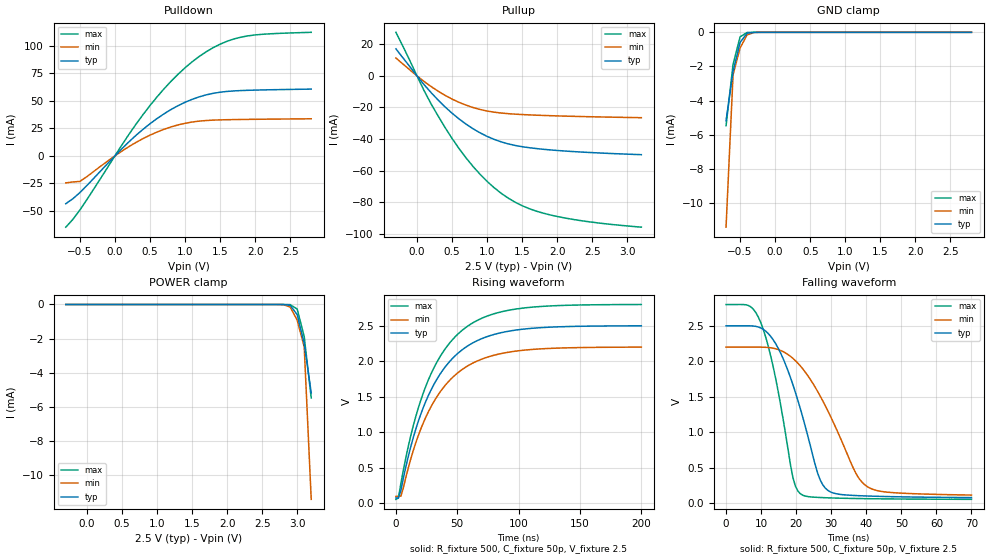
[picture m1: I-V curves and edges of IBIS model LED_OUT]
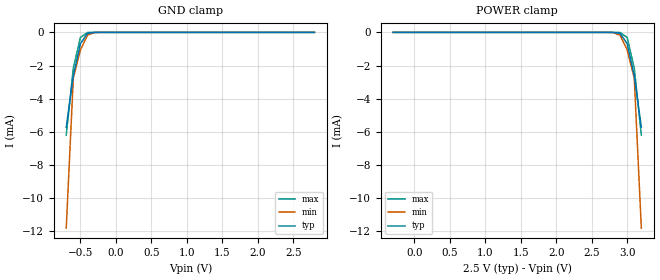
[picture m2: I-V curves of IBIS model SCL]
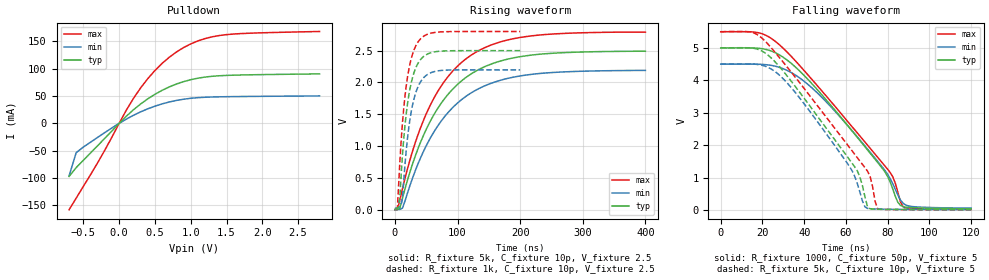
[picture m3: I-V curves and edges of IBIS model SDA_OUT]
|   NXP Semiconductors Inc.
|   IBIS model of PCA9685
[IBIS Ver]   3.2
[Comment Char]   |_char
[File name]   pca9685_2_5v.ibs
[File Rev]   1.0
[Date]   Nov 3, 2008 12:19:04 PM
[Source]
Generated by Seshadri Venkataramanan using IbisToolKit at Tempe, AZ
[Notes]
[Disclaimer]
(C) Copyright 2007 NXP Semiconductors
All rights reserved
NXP Semiconductors (NXP) does not warrant that this model and any other
accompanying information (Model) accurately or fully represents the
operating characteristics and specifications of the semiconductor
products to which the Model relates.  Moreover, the Model is furnished
on an "as is" and with "all faults" basis, and without support or
warranty of any kind.  NXP disclaims all warranties, whether expressed
or implied or statutory, including without limitation all implied
warranties of non-infringement, merchantability and fitness for any
purpose, and those arising from a course of dealing or usage of trade.
NXP does not convey any license under its or any third party's patents,
copyrights or other intellectual property or proprietary rights.
You and your company assume any and all risks and liability arising out
of the application or use of the Model.
In no event shall NXP be liable for any direct, indirect, special,
consequential or incidental damages, however caused, whether in
warranty, contract or tort (including negligence), strict liability or
other legal theory, including, without limitation, for lost profits,
business interruption, or corruption or loss of data or information,
arising out of or in connection with the use of or the inability to use
the Model, even if NXP has been advised of the possibility of such
damages.
NXP provides the Model as a courtesy to our customers. You and your
company shall not distribute, convey, sell, or give the Model to anyone
else without receiving prior written permission from NXP.
NXP reserves the right to make changes without notice to the Model to
improve reliability, function, or design.
Please be aware that your receipt and subsequent use of the Model shall
serve as acceptance of these terms and conditions.  If you do not
accept these terms, return or destroy the Model immediately.
[Copyright]
2008
[Component]   PCA9685PW
Si_location Pin
Timing_location Pin
[Manufacturer]   NXP Semiconductors
[Package]
R_pkg   1.82E-03   9.03E-04   3.6E-03
L_pkg   1.30E-09   4.84E-10   6.95E-09
C_pkg   6.66E-12   6.53E-12   6.80E-12
|  TSSOP28
[Pin] signal_name   model_name   R_pin   L_pin   C_pin
1   A0   INPUT_TTL   3.24E-03  2.45E-09  6.80E-12
2   A1   INPUT_TTL   2.68E-03  1.80E-09  6.79E-12
3   A2   INPUT_TTL   2.24E-03  1.22E-09  6.68E-12
4   A3   INPUT_TTL   1.40E-03  7.77E-10  6.58E-12
5   A4   INPUT_TTL   9.09E-04  4.88E-10  6.53E-12
6   LED0   LED_OUT   9.03E-04  4.84E-10  6.53E-12
7   LED1   LED_OUT   9.09E-04  4.88E-10  6.53E-12
8   LED2   LED_OUT   9.09E-04  4.88E-10  6.53E-12
9   LED3   LED_OUT   9.03E-04  4.84E-10  6.53E-12
10   LED4   LED_OUT   9.09E-04  4.88E-10  6.53E-12
11   LED5   LED_OUT   1.40E-03  7.77E-10  6.58E-12
12   LED6   LED_OUT   2.24E-03  1.22E-09  6.68E-12
13   LED7   LED_OUT   2.68E-03  1.80E-09  6.79E-12
14   VSS   GND   3.24E-03  2.45E-09  6.80E-12
15   LED8   LED_OUT   3.24E-03  2.45E-09  6.80E-12
16   LED9   LED_OUT   2.69E-03  1.80E-09  6.79E-12
17   LED10   LED_OUT   2.24E-03  1.22E-09  6.68E-12
18   LED11   LED_OUT   1.40E-03  7.78E-10  6.58E-12
19   LED12   LED_OUT   9.09E-04  4.88E-10  6.54E-12
20   LED13   LED_OUT   9.03E-04  4.84E-10  6.53E-12
21   LED14   LED_OUT   9.09E-04  4.88E-10  6.53E-12
22   LED15   LED_OUT   9.09E-04  4.88E-10  6.53E-12
23   OEbar   INPUT_TTL   9.03E-04  4.84E-10  6.53E-12
24   A5   INPUT_TTL   9.09E-04  4.88E-10  6.53E-12
25   EXTCLK   INPUT_TTL   1.40E-03  7.78E-10  6.58E-12
26   SCL   SCL   2.24E-03  1.22E-09  6.68E-12
27   SDA   SDA   2.69E-03  1.80E-09  6.79E-12
28   VDD   POWER   3.24E-03  2.45E-09  6.80E-12
|   LED
[Define Package Model]  SOT788_1
[Manufacturer]  NXP APK
[OEM]  Unknown
[Description]  Simulated @ 100MHz / for application PCa9685
|[Simulated] Rason Lei
|[Approved] Wayne Nunn
[Number Of Pins]  30
[Pin Numbers]
|Pin Num   Terminal Name
1   | Lead1:Pin1
2   | Lead2:Pin2
3   | Lead3:Pin3
4   | Lead4:Pin4
5   | Lead5:Pin5
6   | Lead6:Pin6
7   | Lead7:Pin7
8   | Lead8:Pin8
9   | Lead9:Pin9
10   | Lead10:Pin10
11   | Lead11:Pin11
12   | Lead11:Pin12
13   | Lead12:Pin13
14   | Lead13:Pin14
15   | Lead14:Pin15
16   | Lead15:Pin16
17   | Lead16:Pin17
18   | Lead17:Pin18
19   | Lead18:Pin19
20   | Lead19:Pin20
21   | Lead20:Pin21
22   | Lead21:Pin22
23   | Lead22:Pin23
24   | Lead23:Pin24
25   | Lead24:Pin25
26   | Lead25:Pin26
27   | Lead25:Pin27
28   | Lead26:Pin28
29   | Lead27:Pin29
30   | Lead28:Pin30
[Model Data]
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[End Model Data]
[End Package Model]
[Model Selector]   SDA
SDA_IN   SDA as an Input
SDA_OUT   SDA as output
| Models and submodels in the file (5): LED_OUT (I/O), SCL (Input), SDA_OUT (Open_drain), INPUT_TTL (Input), SDA_IN (Input)
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[Model]   LED_OUT
Model_type I/O
Enable Active-Low
Polarity Non-Inverting
Vinh=1.75
Vinl=0.75
Vref=2.5
Vmeas=1.25
Rref=500
Cref=50p
C_comp   3.2p   3p   3.4p
[Temperature Range] 27   85   -40
[Voltage Range]   2.5   2.2   2.8
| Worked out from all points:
|   slope of the pulldown table from 0 to 0.375 V, typ, clamps not added: 16.5 ohm
|   slope of the pullup table from 0 to 0.375 V, typ, clamps not added: 20.2 ohm
|   GND clamp passes 1 mA (typ) near -0.52 V on its own axis
|   falling waveform, R_fixture 500, C_fixture 50p, V_fixture 2.5: 20-80 % time 8.85ns typ, 12.4ns min, 6.36ns max; typ from 2.5 V to 0.083 V
|   rising waveform, R_fixture 500, C_fixture 50p, V_fixture 2.5: 20-80 % time 36ns typ, 36.2ns min, 35.8ns max; typ from 0.074 V to 2.5 V
[Pullup]
-300mV    17.03mA    11.24mA    27.47mA
100mV     -5.502mA   -3.524mA   -9.216mA
200mV     -10.54mA   -6.745mA   -17.64mA
400mV     -19.61mA   -12.33mA   -32.63mA
700mV     -30.53mA   -18.55mA   -51.87mA
900mV     -36.04mA   -21.28mA   -62.23mA
1.1V      -40.16mA   -22.98mA   -70.67mA
1.4V      -44mA      -24.23mA   -79.86mA
1.6V      -45.43mA   -24.69mA   -83.93mA
1.8V      -46.41mA   -25.04mA   -86.77mA
2.4V      -48.3mA    -25.79mA   -91.91mA
3.2V      -49.83mA   -26.46mA   -95.62mA
[Pulldown]
-700mV    -43.48mA   -24.55mA   -64.82mA
-500mV    -33.43mA   -23.25mA   -49.32mA
100mV     6.554mA    4.355mA    9.963mA
400mV     24.11mA    15.68mA    37.44mA
600mV     33.92mA    21.67mA    53.57mA
800mV     42.15mA    26.34mA    67.81mA
1.1V      51.4mA     30.79mA    85.46mA
1.4V      56.88mA    32.53mA    98.38mA
1.6V      58.63mA    32.91mA    104.3mA
1.8V      59.43mA    33.12mA    108mA
2.1V      59.99mA    33.35mA    110.6mA
2.8V      60.74mA    33.75mA    112.4mA
[GND Clamp]
-700mV    -5.178mA   -11.42mA   -5.473mA
-600mV    -2.292mA   -2.487mA   -1.883mA
-500mV    -594.6uA   -920.9uA   -266.8uA
-400mV    -51.49uA   -148.2uA   -7.79uA
-300mV    -1.41uA    -7.234uA   -85.81nA
-200mV    -24.85nA   -185.1nA   -837pA
2.8V      97.9pA     362.8pA    69.36pA
[POWER Clamp]
-300mV    97.9pA     362.8pA    69.36pA
2.7V      -24.85nA   -185.1nA   -837pA
2.8V      -1.41uA    -7.234uA   -85.81nA
2.9V      -51.49uA   -148.2uA   -7.79uA
3V        -594.6uA   -920.9uA   -266.8uA
3.1V      -2.292mA   -2.487mA   -1.883mA
3.2V      -5.178mA   -11.42mA   -5.473mA
[Falling Waveform]
R_fixture=500
C_fixture=50p
V_fixture=2.5
V_fixture_min=2.2
V_fixture_max=2.8
0s        2.5V       2.2V       2.8V
6.364ns   2.5V       2.2V       2.787V
9.899ns   2.47V      2.2V       2.546V
14.14ns   2.25V      2.177V     1.761V
19.09ns   1.668V     2.041V     360.9mV
21.21ns   1.33V      1.934V     136mV
27.58ns   263.8mV    1.445V     82.4mV
36.77ns   112.2mV    449.7mV    70.18mV
39.6ns    106.4mV    261.7mV    68.02mV
70ns      82.74mV    118.4mV    58.41mV
[Rising Waveform]
R_fixture=500
C_fixture=50p
V_fixture=2.5
V_fixture_min=2.2
V_fixture_max=2.8
0s        73.56mV    96.49mV    54.67mV
2.02ns    72.46mV    96.23mV    73.38mV
4.04ns    179.6mV    100.2mV    277.5mV
14.14ns   924.1mV    741.8mV    1.091V
24.24ns   1.43V      1.207V     1.642V
38.38ns   1.878V     1.622V     2.129V
54.55ns   2.167V     1.89V      2.442V
72.73ns   2.336V     2.046V     2.624V
98.99ns   2.441V     2.144V     2.737V
200ns     2.498V     2.197V     2.798V
[Ramp]
R_load=500
dV/dt_r   1.441E+0/4.594E-9   1.236E+0/7.362E-9   1.641E+0/2.994E-9
dV/dt_f   1.451E+0/5.684E-9   1.250E+0/8.440E-9   1.645E+0/3.915E-9
|[End   LED_OUT
[Model]   SCL
Model_type Input
Vinh=1.75
Vinl=0.75
C_comp   1.7p   1.6p   1.8p
[Temperature Range] 27   85   -40
[Voltage Range]   2.5   2.2   2.8
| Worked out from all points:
|   GND clamp passes 1 mA (typ) near -0.52 V on its own axis
[GND Clamp]
-700mV    -5.728mA   -11.81mA   -6.202mA
-600mV    -2.616mA   -2.756mA   -2.153mA
-500mV    -682.1uA   -1.055mA   -306.8uA
-400mV    -59.38uA   -170.1uA   -9.031uA
-300mV    -1.654uA   -8.377uA   -100.6nA
-200mV    -29.62nA   -217.9nA   -873.5pA
2.8V      78.34pA    251pA      62.85pA
[POWER Clamp]
-300mV    78.34pA    251pA      62.85pA
2.7V      -29.62nA   -217.9nA   -873.5pA
2.8V      -1.654uA   -8.377uA   -100.6nA
2.9V      -59.38uA   -170.1uA   -9.031uA
3V        -682.1uA   -1.055mA   -306.8uA
3.1V      -2.616mA   -2.756mA   -2.153mA
3.2V      -5.728mA   -11.81mA   -6.202mA
[Model]   SDA_OUT
Model_type Open_drain
Vref=1.75
Vmeas=0.75
Rref=1000
Cref=10p
C_comp   3.1p   3p   3.3p
[Temperature Range] 27   85   -40
[Voltage Range]   2.5   2.2   2.8
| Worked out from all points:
|   slope of the pulldown table from 0 to 0.375 V, typ, clamps not added: 8.82 ohm
|   falling waveform, R_fixture 1000, C_fixture 50p, V_fixture 5: 20-80 % time 37.9ns typ, 35.1ns min, 43ns max; typ from 5 V to 0.036 V
|   falling waveform, R_fixture 5k, C_fixture 10p, V_fixture 5: 20-80 % time 33.3ns typ, 28.9ns min, 39.1ns max; typ from 5 V to 0.007 V
|   rising waveform, R_fixture 5k, C_fixture 10p, V_fixture 2.5: 20-80 % time 81.6ns typ, 83.2ns min, 79.7ns max; typ from 0.004 V to 2.49 V
|   rising waveform, R_fixture 1k, C_fixture 10p, V_fixture 2.5: 20-80 % time 16.5ns typ, 16.9ns min, 16.1ns max; typ from 0.018 V to 2.5 V
[Pulldown]
-700mV    -97.08mA   -96.2mA    -158mA
-600mV    -80.86mA   -53.55mA   -136.7mA
-500mV    -67.55mA   -43.35mA   -115.2mA
-200mV    -27.3mA    -16.82mA   -48.96mA
100mV     13.05mA    7.75mA     24.12mA
300mV     35.44mA    21.05mA    64.86mA
500mV     53.16mA    31.45mA    96.69mA
800mV     71.93mA    41.95mA    130.5mA
1.1V      82.63mA    47.01mA    150.8mA
1.4V      87.08mA    48.54mA    160.7mA
1.8V      88.74mA    49.21mA    164.8mA
2.8V      90.48mA    50.19mA    168mA
[Falling Waveform]
R_fixture=1000
C_fixture=50p
V_fixture=5
V_fixture_min=4.5
V_fixture_max=5.5
0s        5V         4.5V       5.5V
20.61ns   4.967V     4.488V     5.419V
29.09ns   4.747V     4.379V     5.041V
38.79ns   4.226V     4.028V     4.386V
56.97ns   2.905V     2.886V     3.026V
77.58ns   1.269V     1.309V     1.439V
81.21ns   853.5mV    958.9mV    1.151V
84.85ns   235.3mV    460.2mV    544.6mV
87.27ns   101.8mV    210.3mV    107.8mV
120ns     36.29mV    53.05mV    22.5mV
[Falling Waveform]
R_fixture=5k
C_fixture=10p
V_fixture=5
V_fixture_min=4.5
V_fixture_max=5.5
0s        5V         4.5V       5.5V
16.97ns   4.973V     4.495V     5.431V
29.09ns   4.35V      4.101V     4.626V
55.76ns   2.069V     1.883V     2.425V
65.45ns   1.201V     808.8mV    1.609V
67.88ns   748.6mV    278mV      1.406V
70.3ns    103.8mV    46.1mV     1.198V
71.52ns   35.83mV    35.66mV    1.043V
75.15ns   20.76mV    26.1mV     32.39mV
120ns     6.736mV    9.687mV    4.213mV
[Rising Waveform]
R_fixture=5k
C_fixture=10p
V_fixture=2.5
V_fixture_min=2.2
V_fixture_max=2.8
0s        3.678mV    5.453mV    2.217mV
4.04ns    3.704mV    5.022mV    4.54mV
12.12ns   183mV      27.65mV    333.4mV
32.32ns   838.9mV    608.4mV    1.049V
56.57ns   1.392V     1.127V     1.644V
84.85ns   1.813V     1.527V     2.091V
117.2ns   2.103V     1.806V     2.396V
157.6ns   2.301V     1.999V     2.601V
210.1ns   2.418V     2.116V     2.72V
400ns     2.49V      2.189V     2.789V
[Rising Waveform]
R_fixture=1k
C_fixture=10p
V_fixture=2.5
V_fixture_min=2.2
V_fixture_max=2.8
0s        18.35mV    27.16mV    11.07mV
4.04ns    25.03mV    28.69mV    39.98mV
6.061ns   47.07mV    35.77mV    403.7mV
8.081ns   224mV      50.93mV    779.8mV
12.12ns   863.6mV    185.1mV    1.368V
18.18ns   1.513V     939.1mV    1.95V
26.26ns   2.002V     1.549V     2.379V
38.38ns   2.323V     1.963V     2.654V
68.69ns   2.487V     2.181V     2.789V
200ns     2.499V     2.196V     2.799V
[Ramp]
R_load=1k
dV/dt_r   1.488E+0/2.830E-9   1.481E+0/3.586E-9   1.494E+0/2.402E-9
dV/dt_f   1.488E+0/2.514E-8   1.479E+0/3.008E-8   1.494E+0/2.221E-8
|[End   SDA_OUT
